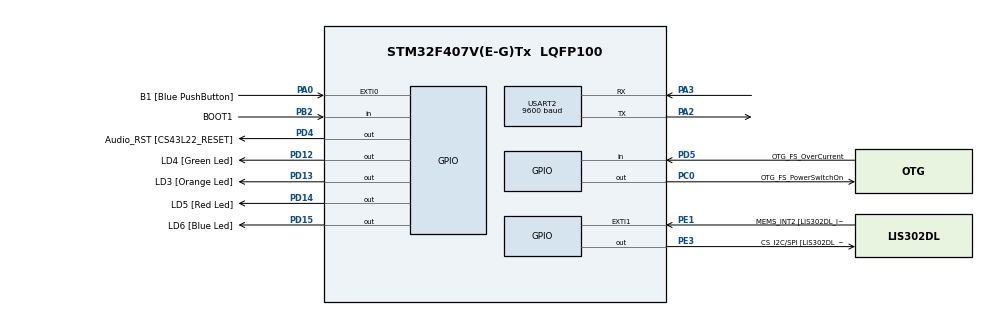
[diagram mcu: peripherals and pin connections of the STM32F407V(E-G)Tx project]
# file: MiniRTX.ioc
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Dma.Request0=USART2_RX
Dma.Request1=USART2_TX
Dma.USART2_RX.0.Direction=DMA_PERIPH_TO_MEMORY
Dma.USART2_RX.0.FIFOMode=DMA_FIFOMODE_DISABLE
Dma.USART2_RX.0.Instance=DMA1_Stream5
Dma.USART2_RX.0.MemDataAlignment=DMA_MDATAALIGN_BYTE
Dma.USART2_RX.0.MemInc=DMA_MINC_ENABLE
Dma.USART2_RX.0.Mode=DMA_CIRCULAR
Dma.USART2_RX.0.PeriphDataAlignment=DMA_PDATAALIGN_BYTE
Dma.USART2_RX.0.PeriphInc=DMA_PINC_DISABLE
Dma.USART2_RX.0.Priority=DMA_PRIORITY_LOW
Dma.USART2_TX.1.Direction=DMA_MEMORY_TO_PERIPH
Dma.USART2_TX.1.FIFOMode=DMA_FIFOMODE_DISABLE
Dma.USART2_TX.1.Instance=DMA1_Stream6
Dma.USART2_TX.1.MemDataAlignment=DMA_MDATAALIGN_BYTE
Dma.USART2_TX.1.MemInc=DMA_MINC_ENABLE
Dma.USART2_TX.1.Mode=DMA_NORMAL
Dma.USART2_TX.1.PeriphDataAlignment=DMA_PDATAALIGN_BYTE
Dma.USART2_TX.1.PeriphInc=DMA_PINC_DISABLE
Dma.USART2_TX.1.Priority=DMA_PRIORITY_LOW
Mcu.Family=STM32F4
Mcu.Name=STM32F407V(E-G)Tx
Mcu.Package=LQFP100
NVIC.DMA1_Stream5_IRQn=true\:0\:0\:false\:false\:true\:false\:true
NVIC.DMA1_Stream6_IRQn=true\:0\:0\:false\:false\:true\:false\:true
NVIC.PriorityGroup=NVIC_PRIORITYGROUP_0
NVIC.TIM3_IRQn=true\:0\:0\:false\:false\:true\:true\:true
NVIC.USART2_IRQn=true\:0\:0\:false\:false\:true\:true\:true
PA0-WKUP.GPIO_Label=B1 [Blue PushButton]
PA0-WKUP.GPIO_ModeDefaultEXTI=GPIO_MODE_EVT_RISING
PA0-WKUP.GPIO_PuPd=GPIO_NOPULL
PA0-WKUP.Signal=GPXTI0
PA10.GPIO_Label=OTG_FS_ID
PA10.GPIO_Mode=GPIO_MODE_AF_PP
PA10.GPIO_PuPd=GPIO_NOPULL
PA10.GPIO_Speed=GPIO_SPEED_FREQ_LOW
PA10.Signal=USB_OTG_FS_ID
PA11.GPIO_Label=OTG_FS_DM
PA11.GPIO_Mode=GPIO_MODE_AF_PP
PA11.GPIO_PuPd=GPIO_NOPULL
PA11.GPIO_Speed=GPIO_SPEED_FREQ_LOW
PA11.Signal=USB_OTG_FS_DM
PA12.GPIO_Label=OTG_FS_DP
PA12.GPIO_Mode=GPIO_MODE_AF_PP
PA12.GPIO_PuPd=GPIO_NOPULL
PA12.GPIO_Speed=GPIO_SPEED_FREQ_LOW
PA12.Signal=USB_OTG_FS_DP
PA13.GPIO_Label=SWDIO
PA13.Mode=Serial_Wire
PA13.Signal=SYS_JTMS-SWDIO
PA14.GPIO_Label=SWCLK
PA14.Mode=Serial_Wire
PA14.Signal=SYS_JTCK-SWCLK
PA2.Mode=Asynchronous
PA2.Signal=USART2_TX
PA3.Mode=Asynchronous
PA3.Signal=USART2_RX
PA4.GPIO_Label=I2S3_WS [CS43L22_LRCK]
PA4.GPIO_Mode=GPIO_MODE_AF_PP
PA4.GPIO_PuPd=GPIO_NOPULL
PA4.GPIO_Speed=GPIO_SPEED_FREQ_LOW
PA4.Signal=I2S3_WS
PA5.GPIO_Label=SPI1_SCK [LIS302DL_SCL/SPC]
PA5.GPIO_Mode=GPIO_MODE_AF_PP
PA5.GPIO_PuPd=GPIO_NOPULL
PA5.GPIO_Speed=GPIO_SPEED_FREQ_LOW
PA5.Signal=SPI1_SCK
PA6.GPIO_Label=SPI1_MISO [LIS302DL_SDO]
PA6.GPIO_Mode=GPIO_MODE_AF_PP
PA6.GPIO_PuPd=GPIO_NOPULL
PA6.GPIO_Speed=GPIO_SPEED_FREQ_LOW
PA6.Signal=SPI1_MISO
PA7.GPIO_Label=SPI1_MOSI [LIS302DL_SDA/SDI/SDO]
PA7.GPIO_Mode=GPIO_MODE_AF_PP
PA7.GPIO_PuPd=GPIO_NOPULL
PA7.GPIO_Speed=GPIO_SPEED_FREQ_LOW
PA7.Signal=SPI1_MOSI
PA9.GPIO_Label=VBUS_FS
PA9.GPIO_Mode=GPIO_MODE_INPUT
PA9.GPIO_PuPd=GPIO_NOPULL
PA9.Signal=USB_OTG_FS_VBUS
PB10.GPIO_Label=CLK_IN [MP45DT02_CLK]
PB10.GPIO_Mode=GPIO_MODE_AF_PP
PB10.GPIO_PuPd=GPIO_NOPULL
PB10.GPIO_Speed=GPIO_SPEED_FREQ_LOW
PB10.Signal=I2S2_CK
PB2.GPIO_Label=BOOT1
PB2.GPIO_Mode=GPIO_MODE_INPUT
PB2.GPIO_PuPd=GPIO_NOPULL
PB2.Signal=GPIO_Input
PB3.GPIO_Label=SWO
PB3.Signal=SYS_JTDO-SWO
PB6.GPIO_Label=Audio_SCL [CS43L22_SCL]
PB6.GPIO_Mode=GPIO_MODE_AF_OD
PB6.GPIO_PuPd=GPIO_NOPULL
PB6.GPIO_Speed=GPIO_SPEED_FREQ_LOW
PB6.Signal=I2C1_SCL
PB9.GPIO_Label=Audio_SDA [CS43L22_SDA]
PB9.GPIO_Mode=GPIO_MODE_AF_OD
PB9.GPIO_PuPd=GPIO_NOPULL
PB9.GPIO_Speed=GPIO_SPEED_FREQ_LOW
PB9.Signal=I2C1_SDA
PC0.GPIO_Label=OTG_FS_PowerSwitchOn
PC0.GPIO_PuPd=GPIO_NOPULL
PC0.GPIO_Speed=GPIO_SPEED_FREQ_LOW
PC0.PinState=GPIO_PIN_SET
PC0.Signal=GPIO_Output
PC10.GPIO_Label=I2S3_SCK [CS43L22_SCLK]
PC10.GPIO_Mode=GPIO_MODE_AF_PP
PC10.GPIO_PuPd=GPIO_NOPULL
PC10.GPIO_Speed=GPIO_SPEED_FREQ_LOW
PC10.Signal=I2S3_CK
PC12.GPIO_Label=I2S3_SD [CS43L22_SDIN]
PC12.GPIO_Mode=GPIO_MODE_AF_PP
PC12.GPIO_PuPd=GPIO_NOPULL
PC12.GPIO_Speed=GPIO_SPEED_FREQ_LOW
PC12.Signal=I2S3_SD
PC14-OSC32_IN.GPIO_Label=PC14-OSC32_IN
PC14-OSC32_IN.Mode=LSE-External-Oscillator
PC14-OSC32_IN.Signal=RCC_OSC32_IN
PC15-OSC32_OUT.GPIO_Label=PC15-OSC32_OUT
PC15-OSC32_OUT.Mode=LSE-External-Oscillator
PC15-OSC32_OUT.Signal=RCC_OSC32_OUT
PC3.GPIO_Label=PDM_OUT [MP45DT02_DOUT]
PC3.GPIO_Mode=GPIO_MODE_AF_PP
PC3.GPIO_PuPd=GPIO_NOPULL
PC3.GPIO_Speed=GPIO_SPEED_FREQ_LOW
PC3.Signal=I2S2_SD
PC7.GPIO_Label=I2S3_MCK [CS43L22_MCLK]
PC7.GPIO_Mode=GPIO_MODE_AF_PP
PC7.GPIO_PuPd=GPIO_NOPULL
PC7.GPIO_Speed=GPIO_SPEED_FREQ_LOW
PC7.Signal=I2S3_MCK
PD12.GPIO_Label=LD4 [Green Led]
PD12.GPIO_PuPd=GPIO_NOPULL
PD12.GPIO_Speed=GPIO_SPEED_FREQ_LOW
PD12.Signal=GPIO_Output
PD13.GPIO_Label=LD3 [Orange Led]
PD13.GPIO_PuPd=GPIO_NOPULL
PD13.GPIO_Speed=GPIO_SPEED_FREQ_LOW
PD13.Signal=GPIO_Output
PD14.GPIO_Label=LD5 [Red Led]
PD14.GPIO_PuPd=GPIO_NOPULL
PD14.GPIO_Speed=GPIO_SPEED_FREQ_LOW
PD14.Signal=GPIO_Output
PD15.GPIO_Label=LD6 [Blue Led]
PD15.GPIO_PuPd=GPIO_NOPULL
PD15.GPIO_Speed=GPIO_SPEED_FREQ_LOW
PD15.Signal=GPIO_Output
PD4.GPIO_Label=Audio_RST [CS43L22_RESET]
PD4.GPIO_PuPd=GPIO_NOPULL
PD4.GPIO_Speed=GPIO_SPEED_FREQ_LOW
PD4.Signal=GPIO_Output
PD5.GPIO_Label=OTG_FS_OverCurrent
PD5.GPIO_Mode=GPIO_MODE_INPUT
PD5.GPIO_PuPd=GPIO_NOPULL
PD5.Signal=GPIO_Input
PE1.GPIO_Label=MEMS_INT2 [LIS302DL_INT2]
PE1.GPIO_ModeDefaultEXTI=GPIO_MODE_EVT_RISING
PE1.GPIO_PuPd=GPIO_NOPULL
PE1.Signal=GPXTI1
PE3.GPIO_Label=CS_I2C/SPI [LIS302DL_CS_I2C/SPI]
PE3.GPIO_PuPd=GPIO_NOPULL
PE3.GPIO_Speed=GPIO_SPEED_FREQ_LOW
PE3.Signal=GPIO_Output
PH0-OSC_IN.GPIO_Label=PH0-OSC_IN
PH0-OSC_IN.Mode=HSE-External-Oscillator
PH0-OSC_IN.Signal=RCC_OSC_IN
PH1-OSC_OUT.GPIO_Label=PH1-OSC_OUT
PH1-OSC_OUT.Mode=HSE-External-Oscillator
PH1-OSC_OUT.Signal=RCC_OSC_OUT
ProjectManager.HeapSize=0x200
ProjectManager.StackSize=0x400
ProjectManager.TargetToolchain=MDK-ARM V5.27
RCC.48MHZClocksFreq_Value=48000000
RCC.AHBFreq_Value=168000000
RCC.APB1CLKDivider=RCC_HCLK_DIV4
RCC.APB1Freq_Value=42000000
RCC.APB1TimFreq_Value=84000000
RCC.APB2CLKDivider=RCC_HCLK_DIV2
RCC.APB2Freq_Value=84000000
RCC.APB2TimFreq_Value=168000000
RCC.CortexFreq_Value=168000000
RCC.HCLKFreq_Value=168000000
RCC.HSE_VALUE=8000000
RCC.HSI_VALUE=16000000
RCC.PLLM=4
RCC.PLLN=168
RCC.PLLQ=7
RCC.PLLSourceVirtual=RCC_PLLSOURCE_HSE
RCC.SYSCLKFreq_VALUE=168000000
RCC.SYSCLKSource=RCC_SYSCLKSOURCE_PLLCLK
RCC.VCOOutputFreq_Value=336000000
TIM3.Period=65535
TIM3.Prescaler=256
USART2.BaudRate=9600
USART2.VirtualMode=VM_ASYNC
VP_TIM3_VS_ClockSourceINT.Mode=Internal
board=STM32F407G-DISC1

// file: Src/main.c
/* USER CODE BEGIN Header */
/**
  ******************************************************************************
  * @file           : main.c
  * @brief          : Main program body
  ******************************************************************************
  * @attention
  *
  * <h2><center>&copy; Copyright (c) 2020 STMicroelectronics.
  * All rights reserved.</center></h2>
  *
  * This software component is licensed by ST under BSD 3-Clause license,
  * the "License"; You may not use this file except in compliance with the
  * License. You may obtain a copy of the License at:
  *                        opensource.org/licenses/BSD-3-Clause
  *
  ******************************************************************************
  */
/* USER CODE END Header */

#include "main.h"

/* USER CODE BEGIN Includes */

#include <initHAL.h>
#include "RTE_Components.h"             // Component selection
#include "stm32f4xx.h"                  // Device header
#include "cmsis_os.h"                   // ARM::CMSIS:RTOS:Keil RTX
#include "EventRecorder.h"              // Keil.ARM Compiler::Compiler:Event Recorder
#include "RTE_Device.h"                 // Keil::Device:STM32Cube Framework:Classic
#include "stm32f4xx_hal.h"              // Keil::Device:STM32Cube HAL:Common
#include <stdio.h>
#include <stdlib.h>
#include <string.h>
#include "Board_LED.h"
#include "tm_stm32f4_rng.h"

/* USER CODE END Includes */

/* USER CODE BEGIN PTD */

// Les différents templates RTX sont ici : "C:\Users\Utilisateur\AppData\Local\Arm\Packs\ARM\CMSIS\5.7.0\CMSIS\RTOS\RTX\UserCodeTemplates"

//---------------- Disposition des LEDs sur la Discovery F4 ------------------
//
//						orange(1)
//	verte(0)			x				rouge(2)
//						bleu(3)
//

/* USER CODE END PTD */

/* USER CODE BEGIN PD */

void Delay_us_TIM(uint32_t uSec);
void Delay_NOP(uint32_t n);
void Delay_us(uint32_t n);
void USART_DMA_ExecuteCommand(char code);
void USART_DMA_PutString(uint8_t *_emission);
void sendCharITM(uint8_t c);
void USART_PutChar(uint8_t ch);
void USART_PutString(uint8_t * str);

/* USER CODE END PD */

/* USER CODE BEGIN PM */

#define RTE_COMPILER_EVENT_RECORDER

/* USER CODE END PM */

TIM_HandleTypeDef htim3;

UART_HandleTypeDef huart2;
DMA_HandleTypeDef hdma_usart2_rx;
DMA_HandleTypeDef hdma_usart2_tx;

/* USER CODE BEGIN PV */

uint8_t tx_busy = false;
//uint8_t rx_index = 0;
//uint8_t rx_data = 0x00;
uint8_t rx_buffer[1] = {0};
//uint8_t nbMessageRecu = 0;

volatile uint32_t x, y, dt = 0x00000000U;

//------------------------------------- Déclarations de variables pour démo de "Simple_View.scvd" -----------------------------------------------------
typedef struct
{                        // type definition
  uint32_t hi;           // offset 0
  uint32_t low;          // offset 4
} MyType;
extern volatile MyType mysymbol; // avoid compiler 6 warning
MyType volatile mysymbol;        // symbol definition

void Simple_View_Thread(void const *argument);
osThreadDef(Simple_View_Thread, osPriorityNormal, 1, 0);
osThreadId T_Simple_View_Thread;
//-----------------------------------------------------------------------------------------------------------------------------------------------------

//------------------------------------- Déclarations de variables pour démo de "Complex_View.scvd" -----------------------------------------------------
// Type 'A'
typedef struct TypeA {
  uint32_t                Nummer;
  uint32_t                Status;
  uint32_t                Size;
} TypeA;

// Type 'G'
typedef struct TypeG {
  uint32_t                Nummer;
  uint32_t                Cluster;
  uint32_t                ClusterSize;
  uint32_t                Status;
} TypeG;

// Type Array
typedef struct TypeArray {
  void   *type_ref;
  char    id[2];
  uint16_t attr;
} TypeArray;

static TypeA  type_a0 = { 0xA01, 0xA02, 0xA03 };
static TypeA  type_a1 = { 0xA11, 0xA12, 0xA13 };
static TypeG  type_g0 = { 0xF01, 0xF02, 0xF03, 0xF04 };
static TypeG  type_g1 = { 0xF11, 0xF12, 0xF13, 0xF14 };
static TypeG  type_g2 = { 0xF21, 0xF22, 0xF23, 0xF24 };

static int32_t x0;

extern TypeArray type_array[];
TypeArray type_array[] =  {
  { &x0,      "A0", 1 },
  { &type_g0, "G0", 2 },
  { &type_g1, "G1", 2 },
  { &type_a1, "A1", 1 },
  { &type_g2, "G2", 2 },
};

void Complex_View_Thread(void const *argument);
osThreadDef(Complex_View_Thread, osPriorityNormal, 1, 0);
osThreadId T_Complex_View_Thread;
//-----------------------------------------------------------------------------------------------------------------------------------------------------

// ------------------ Symmetry  --------------------
osSemaphoreDef(sem_Symmetry);
osSemaphoreId sem_Symmetry_ID;
void Task1_Symmetry(void const *argument);
void Task2_Symmetry(void const *argument);
osThreadId T_Task1_Symmetry;
osThreadId T_Task2_Symmetry;
osThreadDef(Task1_Symmetry, osPriorityNormal, 1, 0);
osThreadDef(Task2_Symmetry, osPriorityNormal, 1, 0);

// ------------------ Moi d'abord, toi ensuite --------------------
void moi_d_abord(void const *argument);
osThreadDef(moi_d_abord, osPriorityNormal, 1, 0);
osThreadId T_moi_d_abord;
void toi_ensuite(void const *argument);
osThreadDef(toi_ensuite, osPriorityNormal, 1, 0);
osThreadId T_toi_ensuite;
osSemaphoreDef(sem_moi_d_abord);
osSemaphoreId sem_moi_d_abord_ID;

// ------------------------ Flashing LEDs -------------------------
void flashing_LED_0(void const *argument);
osThreadId T_flashing_LED_0;
osThreadDef(flashing_LED_0, osPriorityNormal, 1, 0);
void flashing_LED_1(void const *argument);
osThreadId T_flashing_LED_1;
osThreadDef(flashing_LED_1, osPriorityNormal, 1, 0);
void flashing_LED_2(void const *argument);
osThreadId T_flashing_LED_2;
osThreadDef(flashing_LED_2, osPriorityNormal, 1, 0);
void flashing_LED_3(void const *argument);
osThreadId T_flashing_LED_3;
osThreadDef(flashing_LED_3, osPriorityNormal, 1, 0);

// --------------------- Turnstile - Barrier ----------------------
void turnstile_threadBaseCode(void const *argument);
osThreadDef(turnstile_threadBaseCode, osPriorityNormal, 5, 0);
osThreadId T_turnstile_task0;
osThreadId T_turnstile_task1;
osThreadId T_turnstile_task2;
osThreadId T_turnstile_task3;
osSemaphoreId semTurnstile_ID;
osSemaphoreDef(semTurnstile);
osSemaphoreId semTurnstile2_ID;
osSemaphoreDef(semTurnstile2);
osSemaphoreId mutexTurnstile_ID;
osSemaphoreDef(mutexTurnstile);
unsigned int turnstile_count = 0;

// ------------------------- Rendez-vous --------------------------
osSemaphoreId semArrived1_ID;
osSemaphoreDef(semArrived1);
osSemaphoreId semArrived2_ID;
osSemaphoreDef(semArrived2);
void rendez_vous_Thread1(void const *argument);
osThreadDef(rendez_vous_Thread1, osPriorityNormal, 1, 0);
osThreadId T_rendez_vous1;
void rendez_vous_Thread2(void const *argument);
osThreadDef(rendez_vous_Thread2, osPriorityNormal, 1, 0);
osThreadId T_rendez_vous2;

// ---------------------------- Signal -----------------------------
void signal_Thread1(void const *argument);
osThreadDef(signal_Thread1, osPriorityNormal, 1, 0);
osThreadId T_signal1;
void signal_Thread2(void const *argument);
osThreadDef(signal_Thread2, osPriorityNormal, 1, 0);
osThreadId T_signal2;

// -------------------------- Memory Pool --------------------------
typedef struct
{                                 										// Message object structure
  float voltage;               												// AD result of measured voltage
  float current;               												// AD result of measured current
  int counter;               													// A counter value
} measurement1_st;

osPoolDef(mpool, 16, measurement1_st);                    			// Define memory pool
osPoolId mpool_ID;

osMessageQDef(msgQ, 16, &measurement1_st);              				// Define message queue
osMessageQId msgQ_ID;

void mpool_producer(void const *argument);         		// forward reference
void mpool_consumer(void const *argument);         		// forward reference
osThreadId T_mpool_producer;                       		// ID for thread 1
osThreadId T_mpool_consumer;                          // for thread 2
osThreadDef(mpool_producer, osPriorityNormal, 1, 0);
osThreadDef(mpool_consumer, osPriorityNormal, 1, 0);

// ---------------------------- Mail box ---------------------------
typedef struct
{
  float voltage;               												// AD result of measured voltage
  float current;               												// AD result of measured current
  int counter;               													// A counter value
} measurement2_st;

osMailQDef(mailBox, 16, measurement2_st);
osMailQId mailBox_ID;

void mail_producer(void const *argument);
void mail_consumer(void const *argument);
osThreadId T_mail_producer;
osThreadId T_mail_consumer;
osThreadDef(mail_producer, osPriorityNormal, 1,0);
osThreadDef(mail_consumer, osPriorityNormal, 1,0);

// -------------------------- Timer virtuel ------------------------
void callbackTimer(void const *param);
osTimerId timer0_ID;
osTimerId timer1_ID;
osTimerId timer2_ID;
osTimerId timer3_ID;
osTimerDef(timer0_handle, callbackTimer);
osTimerDef(timer1_handle, callbackTimer);
osTimerDef(timer2_handle, callbackTimer);
osTimerDef(timer3_handle, callbackTimer);

// ---------------------------- Message Q --------------------------
osMessageQId Q_LED;
osMessageQDef(Q_LED, 0x16, unsigned char);
osEvent result;
void msgQ_Thread1(void const *argument);
osThreadDef(msgQ_Thread1, osPriorityNormal, 1, 0);
osThreadId T_msgQ_Thread1;
void msgQ_Thread2(void const *argument);
osThreadDef(msgQ_Thread2, osPriorityNormal, 1, 0);
osThreadId T_msgQ_Thread2;

// ---------------------------- Semaphore signalling --------------------------
osSemaphoreId sem1_ID;
osSemaphoreDef(sem1);
void sem_Thread1(void const *argument);
void sem_Thread2(void const *argument);
osThreadDef(sem_Thread1, osPriorityNormal, 1, 0);
osThreadDef(sem_Thread2, osPriorityNormal, 1, 0);
osThreadId T_semLedOn;
osThreadId T_semLedOff;

// ---------------------------------- Multiplex -------------------------------
osSemaphoreId semMultiplex_ID;
osSemaphoreDef(semMultiplex);
osSemaphoreId semSignal_ID;
osSemaphoreDef(semSignal);
osThreadId T_mux1;
osThreadId T_mux2;
osThreadId T_mux3;
osThreadId T_mux4;
osThreadId T_mux5;
osThreadId T_mux6;
void multiplex_Thread(void const *argument);
osThreadDef(multiplex_Thread, osPriorityNormal, 5, 0);

// ---------------------------------- Send usart ----------------------------
osThreadId T_send_usart2;
void send_usart2_Task(void const *argument);
osThreadDef(send_usart2_Task, osPriorityNormal, 1, 0);

// --------------------------  Mutex avec sortie ITM -----------------------
osMutexId sendITM_mutex_ID;
osMutexDef(sendITM_mutex);
osThreadId T_sendITM1;
osThreadId T_sendITM2;
void sendITM_Thread1(void const *argument);
void sendITM_Thread2(void const *argument);
osThreadDef(sendITM_Thread1, osPriorityNormal, 1, 0);
osThreadDef(sendITM_Thread2, osPriorityNormal, 1, 0);

// -------------------------  Mutex avec sortie usart ----------------------
osMutexId sendUSART_mutex_ID;
osMutexDef(sendUSART_mutex);
osThreadId T_sendUSART1;
osThreadId T_sendUSART2;
void sendUSART_Thread1(void const *argument);
void sendUSART_Thread2(void const *argument);
osThreadDef(sendUSART_Thread1, osPriorityNormal, 1, 0);
osThreadDef(sendUSART_Thread2, osPriorityNormal, 1, 0);

/* USER CODE END PV */

void SystemClock_Config(void);
void MX_GPIO_Init(void);
void MX_DMA_Init(void);
void MX_USART2_UART_Init(void);
void MX_TIM3_Init(void);
void Error_Handler(void);

/* USER CODE BEGIN 0 */

/*----------------------------------------------------------------------------
	Pour démo de "Simple_View.scvd"
 *---------------------------------------------------------------------------*/
void Simple_View_Thread(void const *argument)
{
	uint32_t i = 0;
	for(;;)
	{
		for(i=0; i<=30; i++ )
		{
      mysymbol.hi = i*i;
      mysymbol.low = i;
			osDelay(100);
    }
	}
}

/*----------------------------------------------------------------------------
  Pour démo de "Complex_View.scvd"
 *---------------------------------------------------------------------------*/
void Complex_View_Thread(void const *argument)
{
	type_array[0].type_ref =  &type_a0;
	for (;;)
	{
		osDelay(1);
	}
}

/*----------------------------------------------------------------------------
  Task1_Symmetry
 *---------------------------------------------------------------------------*/
void Task1_Symmetry(void const *argument)
{
	#define TEST4

	sem_Symmetry_ID = osSemaphoreCreate(osSemaphore(sem_Symmetry), 0);

	while (1)
	{
		#ifdef TEST1
		osSemaphoreWait(sem_Symmetry_ID, osWaitForever);
		LED_On(0);
		DWT->CYCCNT = 0;
		#endif

		#ifdef TEST2
		osDelay(1);
		LED_Off(0);
		osSemaphoreWait(sem_Symmetry_ID, 1U);
		LED_Off(0);
		DWT->CYCCNT = 0;
		#endif

		#ifdef TEST3
		osSemaphoreRelease(sem_Symmetry_ID);
		osDelay(1);
		LED_Off(0);
		DWT->CYCCNT = 0;
		osSemaphoreWait(sem_Symmetry_ID, osWaitForever);
		LED_On(0);
		y = DWT->CYCCNT; // Elapsed clock ticks, at SystemCoreClock
		dt = (y - x) * 6; // en ns, le 6 représente le tick atomique liée à la fréquence de base (1/168000000Hz)=0.000000006s => 6ns
		#endif

		#ifdef TEST4
		osDelay(1);
		LED_Off(0);
		DWT->CYCCNT = 0;
		osSemaphoreRelease(sem_Symmetry_ID);
		LED_On(0);
		osSemaphoreWait(sem_Symmetry_ID, osWaitForever);
		y = DWT->CYCCNT; // Elapsed clock ticks, at SystemCoreClock
		dt = (y - x) * 6; // en ns, le 6 représente le tick atomique liée à la fréquence de base (1/168000000Hz)=0.000000006s => 6ns
		#endif

		//osDelay(1);

	}
}

/*----------------------------------------------------------------------------
  Task2_Symmetry
 *---------------------------------------------------------------------------*/
void Task2_Symmetry(void const *argument)
{
	while (1)
	{
		#ifdef TEST1
		osDelay(1);
		LED_Off(0);
		y = DWT->CYCCNT; // Elapsed clock ticks, at SystemCoreClock
		dt = (y - x) * 6; // en ns, le 6 représente le tick atomique liée à la fréquence de base (1/168000000Hz)=0.000000006s => 6ns
		osSemaphoreRelease(sem_Symmetry_ID);
		#endif

		#ifdef TEST2
		LED_On(0);
		y = DWT->CYCCNT; // Elapsed clock ticks, at SystemCoreClock
		dt = (y - x) * 6; // en ns, le 6 représente le tick atomique liée à la fréquence de base (1/168000000Hz)=0.000000006s => 6ns
		#endif

		#ifdef TEST3
		osDelay(1);
		#endif

		#ifdef TEST4
		osDelay(1);
		#endif

		//osDelay(1);

	}
}

/*----------------------------------------------------------------------------
  Flashing LED 0 (verte)
 *---------------------------------------------------------------------------*/
void flashing_LED_0(void const *argument)
{
	uint32_t r = 500; // par défaut sans random
	uint32_t min = 100;
	uint32_t max = 1000;
	uint32_t random = (uint32_t) argument;
	if (random == 0x01U)
		r = (TM_RNG_Get() % (max + 1 - min)) + min;
	for (;;)
	{
		LED_On(0);
//		x = DWT->CYCCNT; // On lit le compteur avant le processus
		osDelay(r);
//		y = DWT->CYCCNT; // On lit le compteur après le processus
//		dt = (y - x) * 6; // en ns, le 6 représente le tick atomique liée à la fréquence de base (1/168000000Hz)=0.000000006s => 6ns
		LED_Off(0);
	  osDelay(r);
	}
}

/*----------------------------------------------------------------------------
  Flashing LED 1 (orange)
 *---------------------------------------------------------------------------*/
void flashing_LED_1(void const *argument)
{
	uint32_t r = 500; // par défaut sans random
	uint32_t min = 100;
	uint32_t max = 1000;
	uint32_t random = (uint32_t) argument;
	if (random == 0x01U)
		r = (TM_RNG_Get() % (max + 1 - min)) + min;
	for (;;)
	{
		LED_On(1);
		osDelay(r);
		LED_Off(1);
		osDelay(r);
	}
}

/*----------------------------------------------------------------------------
  Flashing LED 2 (rouge)
 *---------------------------------------------------------------------------*/
void flashing_LED_2(void const *argument)
{
	uint32_t r = 500; // par défaut sans random
	uint32_t min = 100;
	uint32_t max = 1000;
	uint32_t random = (uint32_t) argument;
	if (random == 0x01U)
		r = (TM_RNG_Get() % (max + 1 - min)) + min;
	for (;;)
	{
		LED_On(2);
		osDelay(r);
		LED_Off(2);
		osDelay(r);
	}
}

/*----------------------------------------------------------------------------
  Flashing LED 3 (bleue)
 *---------------------------------------------------------------------------*/
void flashing_LED_3(void const *argument)
{
	uint32_t r = 500; // par défaut sans random
	uint32_t min = 100;
	uint32_t max = 1000;
	uint32_t random = (uint32_t) argument;
	if (random == 0x01U)
		r = (TM_RNG_Get() % (max + 1 - min)) + min;
	for (;;)
	{
		LED_On(3);
		osDelay(r);
		LED_Off(3);
		osDelay(r);
	}
}

/*----------------------------------------------------------------------------
  Moi d'abord
 *---------------------------------------------------------------------------*/
void moi_d_abord(void const *argument)
{
	uint32_t r = 0;
	uint32_t min = 100;
	uint32_t max = 1000;
	sem_moi_d_abord_ID = osSemaphoreCreate(osSemaphore(sem_moi_d_abord), 0);
	//osSemaphoreRelease(sem_moi_d_abord_ID);
	while(1)
	{
		printf("Moi d'abord\n");
		r = (TM_RNG_Get() % (max + 1 - min)) + min;
		osDelay(r);
		osSemaphoreRelease(sem_moi_d_abord_ID);
	}
}

/*----------------------------------------------------------------------------
  Moi ensuite
 *---------------------------------------------------------------------------*/
void toi_ensuite(void const *argument)
{
	while(1)
	{
		osSemaphoreWait(sem_moi_d_abord_ID, osWaitForever);
		printf("            Toi ensuite\n");
	}
}

/*----------------------------------------------------------------------------
  Synchronisation avec algo "Barrier"
 *---------------------------------------------------------------------------*/
void turnstile_threadBaseCode(void const *argument)
{
	#define TURNSTILE
	uint32_t r = 0;
	uint32_t min = 100;
	uint32_t max = 2500;
	uint32_t LED_data;
	LED_data = (uint32_t) argument;
	while(1)
	{
		#ifdef TURNSTILE
		//-----------------------------------Entry Turnstile-------------------------------
		osSemaphoreWait(mutexTurnstile_ID, osWaitForever);			 				// Allow one task at a time to access the first turnstile
		turnstile_count = turnstile_count + 1;					 												// Increment count
		if (turnstile_count == 4) 					 													// When last section of code reaches this point run his code
		{
			osSemaphoreWait(semTurnstile2_ID, osWaitForever);	 			// Lock the second turnstile
			osSemaphoreRelease(semTurnstile_ID);				 						// Unlock the first turnstile
		}
		osSemaphoreRelease(mutexTurnstile_ID);													// Allow other tasks to access the turnstile

		osSemaphoreWait(semTurnstile_ID, osWaitForever);					// Turnstile Gate
		osSemaphoreRelease(semTurnstile_ID);
		//-----------------------------------Entry Turnstile-----------------------------------
		#endif

		LED_On(LED_data);
		printf("            LED_On(%d)\n", LED_data);
		r = (TM_RNG_Get() % (max + 1 - min)) + min;
		osDelay(r);
		LED_Off(LED_data);
		printf("LED_Off(%d)\n", LED_data);
		//r = (TM_RNG_Get() % (max + 1 - min)) + min;
		//osDelay(((LED_data+1)*r));
		osDelay(r);

		#ifdef TURNSTILE
		//----------------------------------Exit Turnstile------------------------------------
		osSemaphoreWait(mutexTurnstile_ID, osWaitForever);			 				// Allow one task at a time to access the turnstile
		turnstile_count = turnstile_count - 1;
		if (turnstile_count == 0)						 													// When last section of code reaches this point run his code
		{
			osSemaphoreWait(semTurnstile_ID, osWaitForever);		 		// Lock the second turnstile
			osSemaphoreRelease(semTurnstile2_ID);			 							// Unlock the first turnstile
		}
		osSemaphoreRelease(mutexTurnstile_ID);					 								// Allow other tasks to access the turnstile

		osSemaphoreWait(semTurnstile2_ID, osWaitForever);		 			// Turnstile Gate
		osSemaphoreRelease(semTurnstile2_ID);
		//---------------------------------Exit Turnstile-------------------------------------
		#endif
	}
}

/*----------------------------------------------------------------------------
  Synchronise the LED's using a semaphore rendez-vous
 *---------------------------------------------------------------------------*/
void rendez_vous_Thread1(void const *argument)
{
	#define RENDEZ_VOUS
	uint32_t r = 0;
	uint32_t min = 100;
	uint32_t max = 1000;
	for (;;)
	{
		LED_Off(0);
		printf("LED_Off(0)\n");
		r = (TM_RNG_Get() % (max + 1 - min)) + min;
		osDelay(r);
		#ifdef RENDEZ_VOUS
		osSemaphoreRelease(semArrived2_ID);								//The semaphores ensure both tasks arrive here
		osSemaphoreWait(semArrived1_ID, osWaitForever);		//before continuing
		#endif

		LED_On(0);
		printf("            LED_On(0) = Synchronisation avec LED 1\n"); // Synchronisation des deux threads ici
		//r = (TM_RNG_Get() % (max + 1 - min)) + min;
		osDelay(r);

		#ifdef RENDEZ_VOUS
		osSemaphoreRelease(semArrived2_ID);								//The semaphores ensure both tasks arrive here
		osSemaphoreWait(semArrived1_ID, osWaitForever);		//before continuing
		#endif
 }
}

/*----------------------------------------------------------------------------
   Synchronise the LED's using a semaphore rendez-vous
 *---------------------------------------------------------------------------*/
void rendez_vous_Thread2(void const *argument)
{
	uint32_t r = 0;
	uint32_t min = 100;
	uint32_t max = 1000;
	for (;;)
	{
		LED_Off(1);
		printf("LED_Off(1)\n");
		r = (TM_RNG_Get() % (max + 1 - min)) + min;
		osDelay(r);
		#ifdef RENDEZ_VOUS
		osSemaphoreRelease(semArrived1_ID);								//The semaphores ensure both tasks arrive here
		osSemaphoreWait(semArrived2_ID, osWaitForever);		//before continuing
		#endif

		LED_On(1);
		printf("            LED_On(1) = Synchronisation avec LED 0\n"); // Synchronisation des deux threads ici
		//r = (TM_RNG_Get() % (max + 1 - min)) + min;
		osDelay(r);

		#ifdef RENDEZ_VOUS
		osSemaphoreRelease(semArrived1_ID);								//The semaphores ensure both tasks arrive here
		osSemaphoreWait(semArrived2_ID, osWaitForever);		//before continuing
		#endif
	}
}

/*----------------------------------------------------------------------------
  Flash LED 0 when signaled by the signal_Thread2
 *---------------------------------------------------------------------------*/
void signal_Thread1(void const *argument)
{
	for (;;)
	{
		osSignalWait(0xAB, osWaitForever);
		LED_On(0);
		osSignalWait(0x45, osWaitForever);
		LED_Off(0);
	}
}
/*----------------------------------------------------------------------------
  Flash LED 1 and synchronise the flashing of LED 0 by setting a signal flag
 *---------------------------------------------------------------------------*/
void signal_Thread2(void const *argument)
{
	for (;;)
	{
		LED_On(1);
		osSignalSet(T_signal1, 0xAB);
		osDelay(250);
		LED_Off(1);
		osSignalSet(T_signal1, 0x45);
		osDelay(1000);
	}
}

/*----------------------------------------------------------------------------
	mpool_producer
 *---------------------------------------------------------------------------*/
void mpool_producer(void const *argument)
{
  measurement1_st *mptr;

	while (1)
	{
		mptr = (measurement1_st*)osPoolAlloc(mpool_ID);						//Allocate a memory pool buffer
		mptr->voltage = 1.23456789;
		mptr->current = 0.0987654321;
		mptr->counter = 66006;
		osMessagePut(msgQ_ID, (uint32_t)mptr, osWaitForever);			//Post pointer to memory pool buffer
		osDelay(1000);
	}
}

/*----------------------------------------------------------------------------
 mpool_consumer
 *---------------------------------------------------------------------------*/
void mpool_consumer(void const *argument)
{
	char msg[80] = {0};
  measurement1_st  *rptr;
  osEvent evt;

  for (;;)
	{
		evt = osMessageGet(msgQ_ID, osWaitForever);								//wait for message to arrive
		if (evt.status == osEventMessage)
		{																													//check we have received a message
			rptr = (measurement1_st*)evt.value.p;																			//read the pointer to memory pool buffer

			sprintf(msg, "\nmpool_consumer\n");
			USART_DMA_PutString((uint8_t*)msg);
			sprintf(msg, "Voltage: %.2f V\n", rptr->voltage);
			USART_DMA_PutString((uint8_t*)msg);
			sprintf(msg, "Current: %.2f A\n", rptr->current);
			USART_DMA_PutString((uint8_t*)msg);
			sprintf(msg, "Number of cycles: %d\n", rptr->counter);
			USART_DMA_PutString((uint8_t*)msg);

			//USART_PutString((uint8_t*)msg); 					// pour USART simple

//      printf("\nmpool_consumer\n");
//      printf("Voltage: %.2f V\n", rptr->voltage);
//      printf("Current: %.2f A\n", rptr->current);
//      printf("Number of cycles: %d\n", rptr->counter);

			osPoolFree(mpool_ID, rptr);															//Release the buffer
		}
  }
}

/*----------------------------------------------------------------------------
 mail_producer
 *---------------------------------------------------------------------------*/
void mail_producer(void const *argument)
{
  measurement2_st *mptr;

	while (1)
	{
		mptr = (measurement2_st*)osMailAlloc(mailBox_ID, osWaitForever);
		mptr->voltage = 1.23456789;
		mptr->current = 0.0987654321;
		mptr->counter = 66006;
		osMailPut(mailBox_ID, mptr); //Post the mail to the mailbox
		osDelay(1000);
	}
}

/*----------------------------------------------------------------------------
 mail_Consumer
 *---------------------------------------------------------------------------*/
void mail_consumer(void const *argument)
{
	char msg[80] = {0};
  measurement2_st *rptr;
	osEvent evt;																								//declare an osEvent variable

	while(1)
	{
		evt = osMailGet(mailBox_ID, osWaitForever);								//wait until a message arrives
		if (evt.status == osEventMail) 														//Check for a valid message
		{
			rptr = (measurement2_st*)evt.value.p;

			sprintf(msg, "\nmail_consumer\n");
			USART_DMA_PutString((uint8_t*)msg);
			sprintf(msg, "Voltage: %.2f V\n", rptr->voltage);
			USART_DMA_PutString((uint8_t*)msg);
			sprintf(msg, "Current: %.2f A\n", rptr->current);
			USART_DMA_PutString((uint8_t*)msg);
			sprintf(msg, "Number of cycles: %d\n", rptr->counter);
			USART_DMA_PutString((uint8_t*)msg);

			//USART_PutString((uint8_t*)msg); 					// pour USART simple

//			printf("\nmail_consumer\n");
//			printf("Voltage: %.2f V\n", rptr->voltage);
//			printf("Current: %.2f A\n", rptr->current);
//			printf("Number of cycles: %d\n", rptr->counter);

			osMailFree(mailBox_ID, rptr);
		}
	}
}

/*----------------------------------------------------------------------------
  Timer callback
 *---------------------------------------------------------------------------*/
void callbackTimer(void const *param)
{
	switch((uint32_t)param)
	{
		case 0:
			GPIOD->ODR ^= 0x2000;	// PD13, Led 3 (orange)
		break;

		case 1:
			GPIOD->ODR ^= 0x4000; // PD14, Led 5 (rouge)
		break;

		case 2:
			GPIOD->ODR ^= 0x8000; // PD15, Led 6 (bleu)
		break;

		case 3:
			GPIOD->ODR ^= 0x1000; // PD12, Led 4 (vert)
		break;
	}
}

/*----------------------------------------------------------------------------
  Task 2 'ledOn': switches the LED on
 *---------------------------------------------------------------------------*/
void msgQ_Thread2(void const *argument)
{
	for(;;)
	{
		result = osMessageGet(Q_LED, osWaitForever);				// wait for a message to arrive
		LED_On(result.value.v);                          		// write the data to the LED's
		printf("On allume la LED#%d\n", result.value.v);
	}
}
/*----------------------------------------------------------------------------
  Task 1 'ledOff': switches the LED off
 *---------------------------------------------------------------------------*/
void msgQ_Thread1(void const *argument)
{
	for (;;)
	{
		osMessagePut(Q_LED, 0x00, osWaitForever); // On demande à allumer la led 0
		osDelay(1000);
		printf("On éteind la LED#0\n");
		LED_Off(0x0);
		osMessagePut(Q_LED, 0x01, osWaitForever); // On demande à allumer la led 1
		osDelay(1000);
		printf("On éteind la LED#1\n");
		LED_Off(0x01);
		osMessagePut(Q_LED, 0x02, osWaitForever); // On demande à allumer la led 2
		osDelay(1000);
		printf("On éteind la LED#2\n");
		LED_Off(0x02);
		osMessagePut(Q_LED, 0x03, osWaitForever); // On demande à allumer la led 3
		osDelay(1000);
		printf("On éteind la LED#3\n");
		LED_Off(0x03);
	}
}

/*----------------------------------------------------------------------------
  Wait to acquire a semaphore token from sem1 then flash LED 1
 *---------------------------------------------------------------------------*/
void sem_Thread1(void const *argument)
{
	for (;;)
	{
		osSemaphoreWait(sem1_ID, osWaitForever);
    printf("      0 ON\n");
		LED_On(0);
		osSemaphoreWait(sem1_ID, osWaitForever);
    printf("0 OFF\n");
		LED_Off(0);
	}
}

/*----------------------------------------------------------------------------
  Flash LED 2 and 'release' a semaphore token to sem1
 *---------------------------------------------------------------------------*/
void sem_Thread2(void const *argument)
{
	uint32_t r = 0;
	uint32_t min = 100;
	uint32_t max = 2000;
	for (;;)
	{
    printf("      1 ON\n");
		LED_On(1);
		osSemaphoreRelease(sem1_ID);
		r = (TM_RNG_Get() % (max + 1 - min)) + min;
		osDelay(r);
    printf("1 OFF\n");
		LED_Off(1);
		osSemaphoreRelease(sem1_ID);
		r = (TM_RNG_Get() % (max + 1 - min)) + min;
		osDelay(r);
	}
}

/*----------------------------------------------------------------------------
 multiplex_Thread
 *---------------------------------------------------------------------------*/
void multiplex_Thread(void const *argument)
{
	uint32_t r = 0;
	uint32_t min = 100;
	uint32_t max = 1000;
	for (;;)
	{
    osSemaphoreWait(semMultiplex_ID, osWaitForever);

		r = (TM_RNG_Get() % (max + 1 - min)) + min;

		LED_On((uint32_t)argument);

		osDelay(r);

		LED_Off((uint32_t)argument);

		//osDelay(r);

		osSemaphoreRelease(semMultiplex_ID);
	}
}

/*----------------------------------------------------------------------------
 Thread 1 writes the character '1'
 *---------------------------------------------------------------------------*/
void send_usart2_Task(void const *argument)
{
#define RANDOM_USART2

#ifdef RANDOM_USART2
	uint32_t r = 0;
	uint32_t min = 500;
	uint32_t max = 2500;
#endif
	uint8_t msg[20] = "Hello, World !\n";
	for (;;)
	{
		#ifdef RTE_COMPILER_EVENT_RECORDER
		EventRecord2(0x01, 0x00, 0x00);
		#endif
		USART_DMA_PutString(msg);
#ifdef RANDOM_USART2
		r = (TM_RNG_Get() % (max + 1 - min)) + min;
		osDelay(r);
#else
			osDelay(1000);
#endif
	}
}

/*----------------------------------------------------------------------------
 Thread 1 writes the character '1'
 *---------------------------------------------------------------------------*/
void sendITM_Thread1(void const *argument)
{
#define MUTEX_ITM
#define RANDOM_ITM

#ifdef RANDOM_ITM
	uint32_t r = 0;
	uint32_t min = 1;
	uint32_t max = 100;
#endif
	uint32_t i;

	for (;;)
	{
#ifdef MUTEX_ITM
		osMutexWait(sendITM_mutex_ID, osWaitForever);
#endif
		for(i=0; i<20; i++)
		{
#ifdef RANDOM_ITM
			r = (TM_RNG_Get() % (max + 1 - min)) + min;
#endif
			sendCharITM('1');
#ifdef RANDOM_ITM
			osDelay(r);
#else
			osDelay(100);
#endif
		}
		sendCharITM('\n');
		sendCharITM('\r');
#ifdef MUTEX_ITM
		osMutexRelease(sendITM_mutex_ID);
#endif
	}
}

/*----------------------------------------------------------------------------
  Thread 2 writes the character '2'
 *---------------------------------------------------------------------------*/
void sendITM_Thread2(void const *argument)
{
#ifdef RANDOM_ITM
	uint32_t r = 0;
	uint32_t min = 1;
	uint32_t max = 100;
#endif
	uint32_t i;
	for(;;)
	{
#ifdef MUTEX_ITM
		osMutexWait(sendITM_mutex_ID, osWaitForever);
#endif
		for(i=0; i<20; i++)
		{
#ifdef RANDOM_ITM
			r = (TM_RNG_Get() % (max + 1 - min)) + min;
#endif
			sendCharITM('2');
#ifdef RANDOM_ITM
			osDelay(r);
#else
			osDelay(100);
#endif
		}
		sendCharITM('\n');
		sendCharITM('\r');
#ifdef MUTEX_ITM
		osMutexRelease(sendITM_mutex_ID);
#endif
	}
}

/*----------------------------------------------------------------------------
 Thread 1 writes the character '1'
 *---------------------------------------------------------------------------*/
void sendUSART_Thread1(void const *argument)
{
#define MUTEX_USART

	uint32_t i, j = 0;
  //char *acMsg = "A11111111111111111111111111111111111111111111111111111111111111111111111111111111111111111111111111111111111111111111111111111111111111111111111111111111111111111111111111111111111111111111111111B";
  //char *acMsg = "A111111111B";
  //char acBuffer[MAX_BUFFER_TX];
	for (;;)
	{
#ifdef MUTEX_USART
			osMutexWait(sendUSART_mutex_ID, osWaitForever);
#endif
		for(j=0; j<10; j++)
		{
			for(i=0; i<50; i++)
			{
				USART_PutChar('1');
				//osDelay(10);
				//sprintf(acBuffer, "%s(%d)\n", acMsg, i+1);
				//sendString((uint8_t *)acBuffer);
				//sendString((uint8_t *)acMsg);
			}
			USART_PutChar(0x0A);
			//osDelay(10);
			//sendString((uint8_t*)"\n");
		}
#ifdef MUTEX_USART
			osMutexRelease(sendUSART_mutex_ID);
#endif
	}
}

/*----------------------------------------------------------------------------
  Thread 2 writes the character '2'
 *---------------------------------------------------------------------------*/
void sendUSART_Thread2(void const *argument)
{
	uint32_t i, j = 0;
  //char *acMsg = "C22222222222222222222222222222222222222222222222222222222222222222222222222222222222222222222222222222222222222222222222222222222222222222222222222222222222222222222222222222222222222222222222222D";
  //char *acMsg = "C222222222D";
  //char acBuffer[MAX_BUFFER_TX];
	for(;;)
	{
#ifdef MUTEX_USART
			osMutexWait(sendUSART_mutex_ID, osWaitForever);
#endif
		for(j=0; j<10; j++)
		{
			for(i=0; i<50; i++)
			{
				USART_PutChar('2');
				//osDelay(10);
				//sprintf(acBuffer, "%s(%d)\n", acMsg, i+1);
				//sendString((uint8_t *)acBuffer);
				//sendString((uint8_t *)acMsg);
			}
			USART_PutChar(0x0A);
			//osDelay(10);
			//sendString((uint8_t *)"\n");
		}
#ifdef MUTEX_USART
			osMutexRelease(sendUSART_mutex_ID);
#endif
	}
}

// ************************************************ ******************************
/* USER CODE END 0 */

int main(void)
{

  /* MCU Configuration--------------------------------------------------------*/

  /* Reset of all peripherals, Initializes the Flash interface and the Systick. */
  HAL_Init();

  /* Configure the system clock */
  SystemClock_Config();

  /* USER CODE BEGIN SysInit */
  SystemCoreClockUpdate();

  /* USER CODE END SysInit */

  /* Initialize all configured peripherals */
  MX_GPIO_Init();
  MX_DMA_Init();
  MX_USART2_UART_Init();
  MX_TIM3_Init();
  /* USER CODE BEGIN 2 */

	LED_Initialize();

  TM_RNG_Init();

  //rx_data = 0x00;
  // Déclenche l'interruption sur l'arrivée d'un caractère
  // Attention de ne pas placer cette ligne après osKernelStart()
  //HAL_UART_Receive_IT(&huart2, &rx_data, 1);
	HAL_UART_Receive_DMA(&huart2, rx_buffer, 1);

#ifdef RTE_COMPILER_EVENT_RECORDER
		EventRecorderInitialize(EventRecordAll, 1);
#endif

	printf("MiniRTX, c'est parti !\n");

  /* Initialize CMSIS-RTOS */
  osKernelInitialize ();

//	T_Simple_View_Thread = osThreadCreate(osThread(Simple_View_Thread), NULL);

//	T_Complex_View_Thread = osThreadCreate(osThread(Complex_View_Thread), NULL);

//	// ---------- Transmission d'un message via usart2 à 9600bauds
//	T_send_usart2 = osThreadCreate(osThread(send_usart2_Task), NULL);
//
//	// ---------- Mutex avec sortie USART
//	sendUSART_mutex_ID = osMutexCreate(osMutex(sendUSART_mutex));
//	T_sendUSART1 = osThreadCreate(osThread(sendUSART_Thread1), NULL);
//	T_sendUSART2 = osThreadCreate(osThread(sendUSART_Thread2), NULL);
//
//	// ---------- Mutex avec sortie ITM
//	sendITM_mutex_ID = osMutexCreate(osMutex(sendITM_mutex));
//	T_sendITM1 = osThreadCreate(osThread(sendITM_Thread1), NULL);
//	T_sendITM2 = osThreadCreate(osThread(sendITM_Thread2), NULL);
//
//	// ---------- Multiplex (plusieurs instances d'un même thread avec passage de paramètre)
//	semMultiplex_ID = osSemaphoreCreate(osSemaphore(semMultiplex), 1);
//	T_mux1 = osThreadCreate(osThread(multiplex_Thread),(void *)0);
//	T_mux2 = osThreadCreate(osThread(multiplex_Thread),(void *)1);
//	T_mux3 = osThreadCreate(osThread(multiplex_Thread),(void *)2);
//	T_mux4 = osThreadCreate(osThread(multiplex_Thread),(void *)3);
//
		// ---------- Semaphore, Moi d'abord, Toi ensuite
	//sem_moi_d_abord_ID = osSemaphoreCreate(osSemaphore(sem_moi_d_abord), 0); // Le sémaphore sera créé dans le thread "moi_d_abord"
//	T_moi_d_abord = osThreadCreate(osThread(moi_d_abord), NULL);
//	T_toi_ensuite= osThreadCreate(osThread(toi_ensuite), NULL);

		// ---------- Symmetry
//	sem_Symmetry_ID = osSemaphoreCreate(osSemaphore(sem_Symmetry), 0);
//	T_Task1_Symmetry = osThreadCreate(osThread(Task1_Symmetry), NULL);
//	T_Task2_Symmetry = osThreadCreate(osThread(Task2_Symmetry), NULL);

//	// ---------- Semaphore
//	sem1_ID = osSemaphoreCreate(osSemaphore(sem1), 0);
//	T_semLedOn = osThreadCreate(osThread(sem_Thread1), NULL);
//	T_semLedOff = osThreadCreate(osThread(sem_Thread2), NULL);

	// ---------- Message Queue
//	Q_LED = osMessageCreate(osMessageQ(Q_LED), NULL);
//	T_msgQ_Thread1 = osThreadCreate(osThread(msgQ_Thread1), NULL);
//	T_msgQ_Thread2 = osThreadCreate(osThread(msgQ_Thread2), NULL);

//	// ---------- Timer virtuel
//	timer0_ID = osTimerCreate(osTimer(timer0_handle), osTimerPeriodic, (void *)0);
//	timer1_ID = osTimerCreate(osTimer(timer1_handle), osTimerPeriodic, (void *)1);
//	timer2_ID = osTimerCreate(osTimer(timer2_handle), osTimerPeriodic, (void *)2);
//	timer3_ID = osTimerCreate(osTimer(timer3_handle), osTimerPeriodic, (void *)3);
//	osTimerStart(timer0_ID, 250);
//	osTimerStart(timer1_ID, 500);
//	osTimerStart(timer2_ID, 1000);
//	osTimerStart(timer3_ID, 2000);

//	// ---------- Mail box
//	mailBox_ID = osMailCreate(osMailQ(mailBox), NULL);
//  T_mail_producer = osThreadCreate(osThread(mail_producer), NULL);
//	T_mail_consumer = osThreadCreate(osThread(mail_consumer), NULL);

//	// ---------- Memory Pool
//  mpool_ID = osPoolCreate(osPool(mpool));                 						// create memory pool
//  msgQ_ID = osMessageCreate(osMessageQ(msgQ), NULL);  								// create msg queue
//  T_mpool_producer = osThreadCreate(osThread(mpool_producer), NULL);
//  T_mpool_consumer = osThreadCreate(osThread(mpool_consumer), NULL);

//	// ---------- Signal
//	T_signal1 = osThreadCreate(osThread(signal_Thread1), NULL);
//	T_signal2 = osThreadCreate(osThread(signal_Thread2), NULL);

//	// ---------- Algorithme "Rendez-vous"
//	semArrived1_ID = osSemaphoreCreate(osSemaphore(semArrived1), 0);
//	semArrived2_ID = osSemaphoreCreate(osSemaphore(semArrived2), 0);
//	T_rendez_vous1 = osThreadCreate(osThread(rendez_vous_Thread1), NULL);
//	T_rendez_vous2 = osThreadCreate(osThread(rendez_vous_Thread2), NULL);

//	// ---------- Algorithme "Barrier"
//	semTurnstile_ID = osSemaphoreCreate(osSemaphore(semTurnstile), 0);
//	semTurnstile2_ID = osSemaphoreCreate(osSemaphore(semTurnstile2), 1);
//	mutexTurnstile_ID = osSemaphoreCreate(osSemaphore(mutexTurnstile), 1);
//	T_turnstile_task0 = osThreadCreate(osThread(turnstile_threadBaseCode),(void *) 0x00);
//	T_turnstile_task1 = osThreadCreate(osThread(turnstile_threadBaseCode),(void *) 0x01);
//	T_turnstile_task2 = osThreadCreate(osThread(turnstile_threadBaseCode),(void *) 0x02);
//	T_turnstile_task3 = osThreadCreate(osThread(turnstile_threadBaseCode),(void *) 0x03);

//	// ---------- Flashing LED threads with parameters
	T_flashing_LED_0 = osThreadCreate(osThread(flashing_LED_0), (void *) 0x01); // 0x00 => clignotement fixe, 0x01 => aléatoire
	T_flashing_LED_1 = osThreadCreate(osThread(flashing_LED_1), (void *) 0x00);
	T_flashing_LED_2 = osThreadCreate(osThread(flashing_LED_2), (void *) 0x00);
	T_flashing_LED_3 = osThreadCreate(osThread(flashing_LED_3), (void *) 0x00);

  osKernelStart();
	osDelay(osWaitForever);

  /* USER CODE END 2 */

  /* Infinite loop */
  while (1)
  {

  }
}
